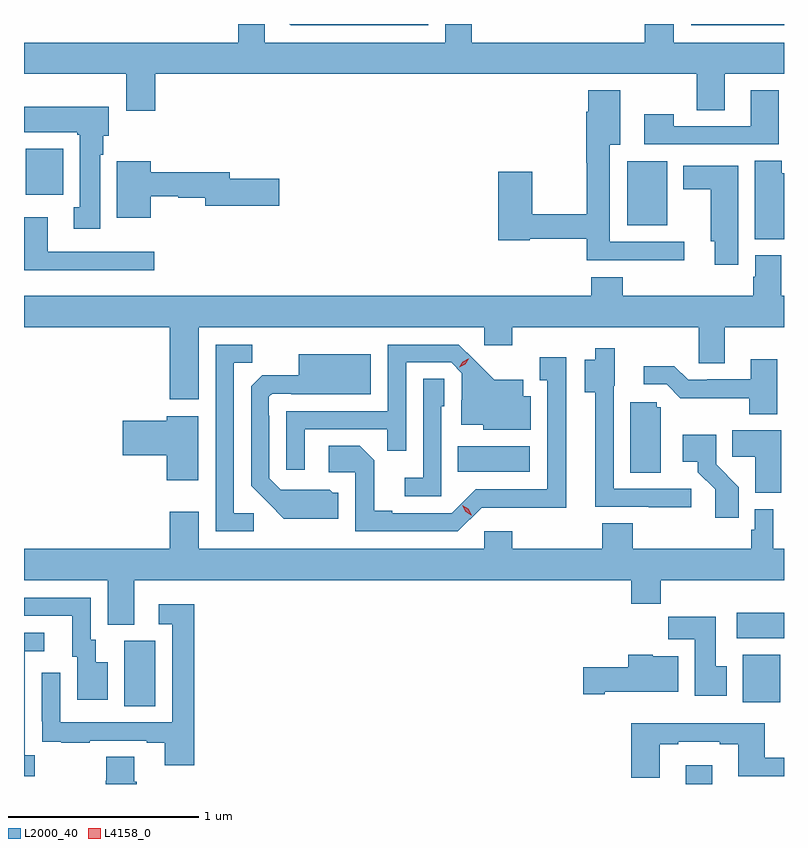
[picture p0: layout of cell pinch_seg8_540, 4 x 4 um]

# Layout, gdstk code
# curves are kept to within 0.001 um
import gdstk
lib = gdstk.Library(unit=1e-6, precision=1e-09)
def R(c, l, rs):  # rectangles x0, y0, x1, y1
    for r in rs: c.add(gdstk.rectangle(r[:2], r[2:], *l))
def P(c, l, *ps):  # polygons
    for p in ps: c.add(gdstk.Polygon(p, *l))
L2000_40 = (2000, 40)
L4158_0 = (4158, 0)

pinch_seg8_540 = lib.new_cell('pinch_seg8_540')
R(pinch_seg8_540, L2000_40, [(150.113,1119.423,150.253,1119.523), (147.158,1119.832,147.322,1120.176), (150.413,1119.852,150.609,1120.102), (150.381,1120.19,150.63,1120.324), (148.912,1121.066,149.293,1121.2), (149.804,1122.365,150.016,1122.7), (146.639,1122.524,146.836,1122.766), (150.141,1123.416,150.63,1123.423)])
P(pinch_seg8_540, L2000_40, [(147.32,1123.16),(150.172,1123.16),(150.172,1122.97),(150.319,1122.97),(150.319,1123.16),(150.63,1123.16),(150.63,1123.324),(150.049,1123.324),(150.049,1123.423),(149.897,1123.423),(149.897,1123.324),(148.987,1123.324),(148.987,1123.423),(148.847,1123.423),(148.847,1123.324),(147.897,1123.324),(147.897,1123.422),(147.758,1123.422),(147.758,1123.324),(146.63,1123.324),(146.63,1123.16),(147.167,1123.16),(147.167,1122.966),(147.32,1122.966)],
  [(148.758,1123.423),(148.027,1123.423),(148.034,1123.416),(148.758,1123.416)],
  [(150.106,1122.276),(149.713,1122.276),(149.713,1122.788),(149.767,1122.788),(149.767,1123.075),(149.6,1123.075),(149.6,1122.962),(149.588,1122.962),(149.588,1122.692),(149.593,1122.692),(149.593,1122.422),(149.304,1122.422),(149.304,1122.646),(149.126,1122.646),(149.126,1122.286),(149.292,1122.286),(149.292,1122.294),(149.593,1122.294),(149.593,1122.179),(150.106,1122.179)],
  [(150.603,1123.075),(150.455,1123.075),(150.455,1122.885),(150.051,1122.885),(150.051,1122.949),(149.895,1122.949),(149.895,1122.789),(150.603,1122.789)],
  [(147.031,1122.734),(147.046,1122.734),(147.046,1122.834),(147.076,1122.834),(147.076,1122.988),(146.63,1122.988),(146.63,1122.854),(146.911,1122.854),(146.911,1122.841),(146.924,1122.841),(146.924,1122.458),(146.891,1122.458),(146.891,1122.345),(147.031,1122.345)],
  [(150.63,1122.637),(150.618,1122.637),(150.618,1122.704),(150.476,1122.704),(150.476,1122.29),(150.63,1122.29)],
  [(147.298,1122.516),(147.441,1122.516),(147.441,1122.508),(147.584,1122.508),(147.584,1122.466),(147.973,1122.466),(147.973,1122.608),(147.712,1122.608),(147.712,1122.644),(147.298,1122.644),(147.298,1122.7),(147.119,1122.7),(147.119,1122.404),(147.298,1122.404)],
  [(150.388,1122.676),(150.101,1122.676),(150.101,1122.554),(150.245,1122.554),(150.245,1122.279),(150.266,1122.279),(150.266,1122.156),(150.388,1122.156)],
  [(147.316,1122.225),(146.755,1122.225),(146.755,1122.406),(146.63,1122.406),(146.63,1122.128),(147.316,1122.128)],
  [(147.55,1121.828),(149.052,1121.828),(149.052,1121.733),(149.199,1121.733),(149.199,1121.828),(150.18,1121.828),(150.18,1121.638),(150.319,1121.638),(150.319,1121.828),(150.63,1121.828),(150.63,1121.992),(150.615,1121.992),(150.615,1122.205),(150.479,1122.205),(150.479,1122.093),(150.467,1122.093),(150.467,1121.992),(149.78,1121.992),(149.78,1122.091),(149.615,1122.091),(149.615,1121.992),(146.63,1121.992),(146.63,1121.828),(147.398,1121.828),(147.398,1121.448),(147.55,1121.448)],
  [(147.838,1120.848),(147.735,1120.848),(147.735,1121.641),(147.831,1121.641),(147.831,1121.736),(147.639,1121.736),(147.639,1120.752),(147.838,1120.752)],
  [(148.107,1121.289),(148.543,1121.289),(148.543,1121.176),(148.641,1121.176),(148.641,1121.643),(148.878,1121.643),(148.935,1121.586),(148.935,1121.444),(148.931,1121.444),(148.931,1121.315),(149.046,1121.315),(149.046,1121.288),(149.296,1121.288),(149.296,1121.464),(149.257,1121.464),(149.257,1121.551),(149.105,1121.551),(148.918,1121.736),(148.545,1121.736),(148.545,1121.385),(148.011,1121.385),(148.011,1121.076),(148.107,1121.076)],
  [(150.142,1120.977),(149.733,1120.977),(149.733,1121.52),(149.74,1121.52),(149.74,1121.716),(149.636,1121.716),(149.636,1121.656),(149.582,1121.656),(149.582,1121.486),(149.636,1121.486),(149.636,1120.881),(149.917,1120.881),(149.917,1120.879),(150.142,1120.879)],
  [(148.285,1120.956),(148.254,1120.956),(148.238,1120.972),(147.981,1120.971),(147.921,1121.031),(147.921,1121.36),(147.918,1121.36),(147.918,1121.46),(147.936,1121.478),(148.036,1121.478),(148.036,1121.474),(148.456,1121.474),(148.456,1121.686),(148.076,1121.686),(148.076,1121.575),(147.884,1121.575),(147.825,1121.516),(147.825,1120.994),(147.997,1120.82),(148.285,1120.82)],
  [(149.04,1120.878),(149.485,1120.877),(149.485,1121.668),(149.345,1121.668),(149.345,1121.547),(149.384,1121.547),(149.384,1120.974),(149.007,1120.974),(148.881,1120.848),(148.567,1120.848),(148.567,1120.861),(148.473,1120.861),(148.473,1121.128),(148.397,1121.204),(148.233,1121.204),(148.233,1121.064),(148.374,1121.064),(148.374,1120.752),(148.914,1120.752)],
  [(150.595,1121.659),(150.455,1121.659),(150.455,1121.553),(150.226,1121.553),(150.226,1121.55),(150.126,1121.55),(150.053,1121.623),(149.892,1121.623),(149.892,1121.526),(150.012,1121.526),(150.085,1121.453),(150.448,1121.454),(150.448,1121.369),(150.595,1121.369)],
  [(148.827,1121.412),(148.842,1121.412),(148.842,1121.555),(148.731,1121.555),(148.731,1121.035),(148.635,1121.035),(148.635,1120.938),(148.827,1120.938)],
  [(149.98,1121.406),(149.961,1121.406),(149.961,1121.433),(149.822,1121.433),(149.822,1121.062),(149.98,1121.062)],
  [(147.547,1121.359),(147.38,1121.359),(147.38,1121.336),(147.15,1121.336),(147.15,1121.153),(147.38,1121.153),(147.38,1121.022),(147.547,1121.022)],
  [(150.616,1121.284),(150.358,1121.284),(150.358,1121.146),(150.479,1121.146),(150.479,1120.955),(150.616,1120.955)],
  [(150.392,1120.986),(150.273,1121.105),(150.273,1121.26),(150.096,1121.26),(150.096,1121.12),(150.176,1121.12),(150.176,1121.065),(150.267,1120.975),(150.267,1120.824),(150.392,1120.824)],
  [(147.211,1120.496),(149.825,1120.496),(149.825,1120.372),(149.981,1120.372),(149.981,1120.496),(150.63,1120.496),(150.63,1120.66),(150.573,1120.66),(150.573,1120.87),(150.477,1120.87),(150.477,1120.761),(150.457,1120.761),(150.457,1120.66),(149.834,1120.66),(149.834,1120.796),(149.674,1120.796),(149.674,1120.66),(149.199,1120.66),(149.199,1120.753),(149.052,1120.753),(149.052,1120.66),(147.55,1120.66),(147.55,1120.855),(147.398,1120.855),(147.398,1120.66),(146.63,1120.66),(146.63,1120.496),(147.071,1120.496),(147.071,1120.261),(147.211,1120.261)],
  [(147.07,1120.063),(147.007,1120.063),(147.007,1120.182),(146.982,1120.182),(146.982,1120.404),(146.63,1120.404),(146.63,1120.308),(146.885,1120.308),(146.885,1120.092),(146.909,1120.092),(146.909,1119.867),(147.07,1119.867)],
  [(147.527,1120.369),(147.339,1120.369),(147.339,1120.263),(147.411,1120.263),(147.411,1119.747),(146.82,1119.747),(146.82,1120.009),(146.724,1120.009),(146.724,1119.754),(146.725,1119.754),(146.725,1119.645),(146.827,1119.645),(146.827,1119.639),(146.975,1119.639),(146.975,1119.651),(147.275,1119.651),(147.275,1119.639),(147.371,1119.639),(147.371,1119.522),(147.527,1119.522)],
  [(150.328,1120.044),(150.271,1120.044),(150.271,1120.303),(150.022,1120.303),(150.022,1120.184),(150.161,1120.184),(150.161,1119.888),(150.328,1119.888)],
  [(146.686,1119.574),(146.634,1119.574),(146.634,1120.122),(146.737,1120.122),(146.737,1120.218),(146.63,1120.218),(146.63,1119.464),(146.686,1119.464)],
  [(149.686,1119.908),(150.073,1119.908),(150.073,1120.096),(149.94,1120.096),(149.94,1120.102),(149.81,1120.102),(149.81,1120.038),(149.574,1120.038),(149.574,1119.896),(149.686,1119.896)],
  [(149.977,1119.633),(150.073,1119.633),(150.073,1119.645),(150.293,1119.645),(150.293,1119.633),(150.389,1119.633),(150.389,1119.464),(150.63,1119.464),(150.63,1119.561),(150.529,1119.561),(150.529,1119.742),(149.825,1119.742),(149.825,1119.456),(149.977,1119.456)],
  [(147.224,1119.434),(147.211,1119.434),(147.211,1119.566),(147.064,1119.566),(147.064,1119.441),(147.059,1119.441),(147.059,1119.423),(147.224,1119.423)])
P(pinch_seg8_540, L4158_0, [(148.985,1120.838),(148.954,1120.857),(148.937,1120.89),(148.937,1120.89),(148.937,1120.89),(148.968,1120.871),(148.986,1120.838),(148.986,1120.838)],
  [(148.921,1121.616),(148.921,1121.616),(148.938,1121.646),(148.969,1121.661),(148.97,1121.661),(148.97,1121.661),(148.952,1121.631),(148.921,1121.616)])

lib.write_gds('pinch_seg8_540.gds')
